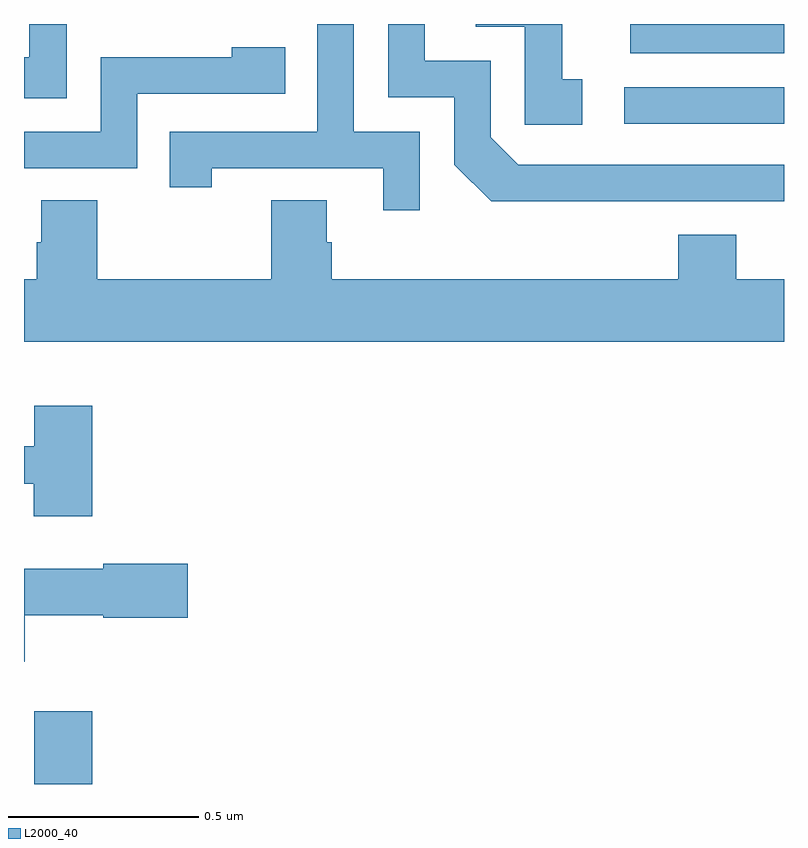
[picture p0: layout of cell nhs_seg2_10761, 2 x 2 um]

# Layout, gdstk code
import gdstk
lib = gdstk.Library(unit=1e-6, precision=1e-09)
def R(c, l, rs):  # rectangles x0, y0, x1, y1
    for r in rs: c.add(gdstk.rectangle(r[:2], r[2:], *l))
def P(c, l, *ps):  # polygons
    for p in ps: c.add(gdstk.Polygon(p, *l))
L2000_40 = (2000, 40)

nhs_seg2_10761 = lib.new_cell('nhs_seg2_10761')
R(nhs_seg2_10761, L2000_40, [(245.027,651.8,245.18,651.991), (246.579,653.538,247,653.634), (246.596,653.723,247,653.8)])
P(nhs_seg2_10761, L2000_40, [(246.638,653.334),(247,653.334),(247,653.43),(246.3,653.43),(246.228,653.502),(246.228,653.703),(246.055,653.703),(246.055,653.8),(245.958,653.8),(245.958,653.607),(246.132,653.607),(246.132,653.43),(246.23,653.333),(246.638,653.333)],
  [(246.469,653.655),(246.416,653.655),(246.416,653.8),(246.189,653.8),(246.189,653.793),(246.318,653.793),(246.318,653.535),(246.469,653.535)],
  [(245.112,653.8),(245.014,653.8),(245.014,653.713),(245,653.713),(245,653.604),(245.112,653.604)],
  [(246.042,653.517),(245.868,653.517),(245.868,653.8),(245.772,653.8),(245.772,653.517),(245.383,653.517),(245.383,653.37),(245.494,653.37),(245.494,653.421),(245.945,653.421),(245.945,653.31),(246.042,653.31)],
  [(245.298,653.616),(245.687,653.616),(245.687,653.739),(245.547,653.739),(245.547,653.712),(245.202,653.712),(245.202,653.517),(245,653.517),(245,653.421),(245.298,653.421)],
  [(247,653.128),(246.874,653.128),(246.874,653.245),(246.722,653.245),(246.722,653.128),(245.81,653.128),(245.81,653.226),(245.797,653.226),(245.797,653.336),(245.65,653.336),(245.65,653.128),(245.193,653.128),(245.193,653.336),(245.045,653.336),(245.045,653.226),(245.033,653.226),(245.033,653.128),(245,653.128),(245,652.964),(247,652.964)],
  [(245.18,652.795),(245.027,652.795),(245.027,652.689),(245,652.689),(245,652.59),(245.025,652.59),(245.025,652.505),(245.18,652.505)],
  [(245.002,652.244),(245.208,652.244),(245.208,652.237),(245.431,652.237),(245.431,652.379),(245.208,652.379),(245.208,652.366),(245,652.366),(245,652.122),(245.002,652.122)])

lib.write_gds('nhs_seg2_10761.gds')
